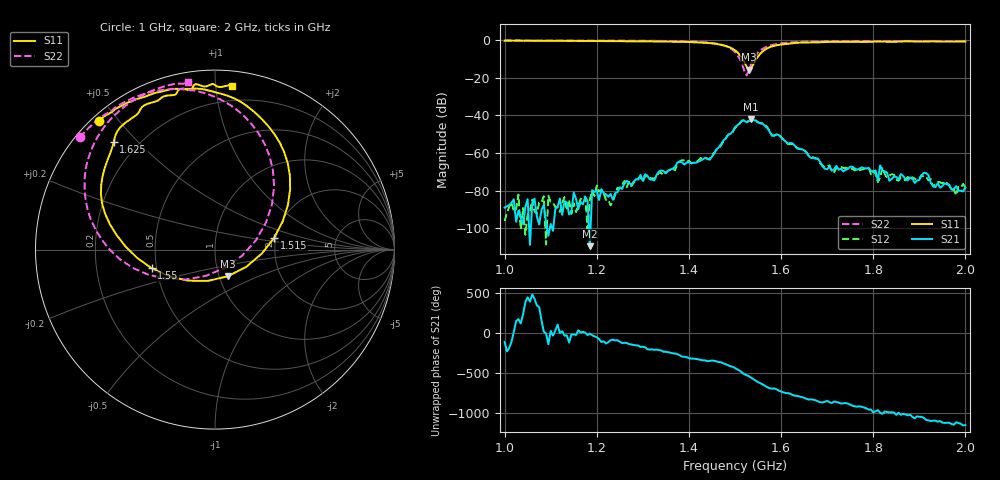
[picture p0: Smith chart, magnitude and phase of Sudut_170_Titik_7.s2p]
# Hz S RI R 50
! CMT, C1220, 16058040, 17.2.0/1
! Date: 14/08/2018 12:14:22
! Data: Format (Calibration Info)
! Freq  S11: Re/Im (F2)  S21: Re/Im (F2)  S12: Re/Im (F2)  S22: Re/Im (F2)
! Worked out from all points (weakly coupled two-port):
!   201 points, 1 GHz to 2 GHz, reference 50 ohm
!   highest |S21| = -42.06 dB at 1.535 GHz (marker M1); lowest = -109.4 dB at 1.185 GHz (marker M2)
!   lowest |S11| = -15.6 dB at 1.53 GHz (marker M3), VSWR 1.40, Z = 55.1 - j16.8 ohm
!   |S11| at or under -10 dB: 1.516 GHz to 1.546 GHz (30.24 MHz wide, 1.97 % of centre)
!   |S22| runs from -18.7 to -0.2 dB; largest |S21 - S12| = 0.00032
!   S11 on the Smith chart (normalised r, x): 1 GHz: 0.02, +0.44; 1.515 GHz: 1.95, +0.29; 1.55 GHz: 0.47, -0.11; 1.625 GHz: 0.11, +0.43; 2 GHz: 0.10, +1.11
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1e9  -0.6472 0.7143  -1.2e-05 -3.37e-05  1.58e-05 1.45e-06  -0.7535 0.6249
1.17e9  -0.4778 0.8223  4.22e-05 1.19e-05  7.08e-05 -1.08e-05  -0.6168 0.7507
1.185e9  -0.453 0.8326  3.36e-06 -3.29e-07  5.26e-05 -2.32e-05  -0.5994 0.7601
1.335e9  -0.2192 0.8956  -0.000277 0.000167  -0.000237 0.000201  -0.4004 0.8653
1.445e9  0.1539 0.8166  0.000646 0.000158  0.000679 0.000166  -0.00898 0.8543
1.5e9  0.4185 0.3348  0.00129 -0.00468  0.00125 -0.00444  0.3293 0.3522
1.515e9  0.329 0.0651  -0.00437 -0.00579  -0.00427 -0.00596  0.2298 0.0543
1.53e9  0.0726 -0.1483  -0.00706 -0.000447  -0.00709 -0.000471  -0.0509 -0.1465
1.535e9  -0.0396 -0.1745  -0.00761 0.00208  -0.00764 0.00216  -0.164 -0.1667
1.55e9  -0.3534 -0.1037  -0.00215 0.00619  -0.00239 0.0061  -0.4584 -0.1017
1.625e9  -0.5636 0.6017  0.00115 -0.0014  0.00117 -0.00132  -0.7014 0.5219
1.67e9  -0.4449 0.7449  -0.000242 -0.000706  -0.000229 -0.000736  -0.6251 0.6727
1.715e9  -0.3632 0.8162  -0.000247 -0.000277  -0.000215 -0.000219  -0.5503 0.7572
1.79e9  -0.2148 0.8697  -0.000243 0.000324  -0.000253 0.000322  -0.4381 0.8409
1.81e9  -0.1949 0.8945  -9.27e-05 0.00016  -0.000109 0.00013  -0.4104 0.8573
1.815e9  -0.1867 0.8965  3.46e-06 0.00047  -4.9e-05 0.000217  -0.4036 0.8607
1.82e9  -0.1764 0.8959  0.0001 0.000332  9.64e-05 0.000386  -0.3969 0.8643
1.835e9  -0.1439 0.8885  -5.8e-06 0.000185  -6.05e-05 0.000247  -0.3768 0.8738
1.89e9  -0.0763 0.9128  0.000154 4.94e-05  0.000161 0.000132  -0.2986 0.9043
1.91e9  -0.0381 0.9132  0.000276 0.00012  0.000219 8.23e-05  -0.272 0.9129
1.935e9  -0.00661 0.9209  0.000122 -2.59e-05  0.000156 -4.69e-06  -0.236 0.9209
2e9  0.0959 0.9131  5.05e-05 -0.000111  5.5e-05 -0.000108  -0.1522 0.9329
